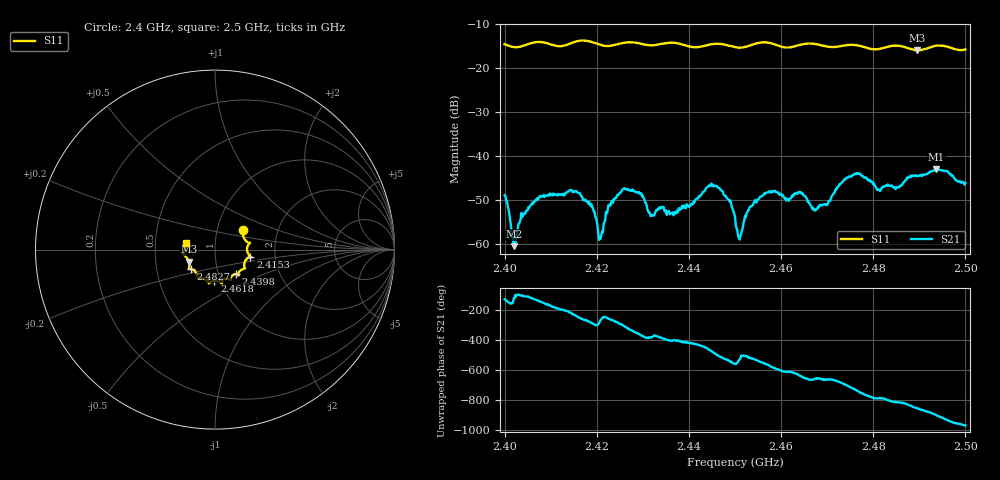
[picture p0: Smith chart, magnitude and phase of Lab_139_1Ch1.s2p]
# Hz S RI R
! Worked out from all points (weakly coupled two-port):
!   601 points, 2.4 GHz to 2.5 GHz, reference 50 ohm
!   highest |S21| = -43.03 dB at 2.4937 GHz (marker M1); lowest = -60.5 dB at 2.402 GHz (marker M2)
!   lowest |S11| = -15.9 dB at 2.4895 GHz (marker M3), VSWR 1.38, Z = 37 - j5.04 ohm
!   |S11| at or under -10 dB: start of sweep to end of sweep
!   S12 and S22 are empty: the file has one direction only
!   S11 on the Smith chart (normalised r, x): 2.4 GHz: 1.33, +0.29; 2.4153 GHz: 1.48, -0.12; 2.4398 GHz: 1.21, -0.34; 2.4618 GHz: 0.94, -0.33; 2.4827 GHz: 0.75, -0.17; 2.5 GHz: 0.72, +0.06
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2.4e9  0.1552 0.1067  -0.00237 -0.00268  0 0  0 0
2.402e9  0.1577 0.074  -0.00052 -0.000783  0 0  0 0
2.407167e9  0.1959 0.0377  -0.0024 -0.00209  0 0  0 0
2.415333e9  0.1968 -0.0391  -0.00214 0.00332  0 0  0 0
2.416667e9  0.2026 -0.0432  -0.000658 0.00341  0 0  0 0
2.420833e9  0.1769 -0.0518  -1.62e-06 0.00115  0 0  0 0
2.422833e9  0.1639 -0.0745  -0.000316 0.00278  0 0  0 0
2.425833e9  0.1666 -0.1013  0.00258 0.00338  0 0  0 0
2.433333e9  0.1299 -0.1339  0.00234 -0.000762  0 0  0 0
2.439833e9  0.1154 -0.136  0.00135 -0.00231  0 0  0 0
2.445333e9  0.0837 -0.1698  -0.00258 -0.0037  0 0  0 0
2.45e9  0.0652 -0.1619  -0.00191 0.000689  0 0  0 0
2.451167e9  0.0524 -0.1637  -0.00117 -0.00039  0 0  0 0
2.455833e9  0.038 -0.1935  -0.00344 0.000577  0 0  0 0
2.461833e9  -0.0032 -0.1728  -0.000992 0.0031  0 0  0 0
2.466667e9  -0.0349 -0.1881  0.00147 0.00214  0 0  0 0
2.476167e9  -0.0955 -0.1572  0.00614 -0.00133  0 0  0 0
2.482667e9  -0.1349 -0.1086  0.00134 -0.00438  0 0  0 0
2.483333e9  -0.1399 -0.1083  0.000743 -0.00458  0 0  0 0
2.4895e9  -0.1457 -0.0664  -0.00402 -0.00434  0 0  0 0
2.493667e9  -0.1796 -0.0236  -0.00705 -0.000145  0 0  0 0
2.5e9  -0.1594 0.0383  -0.0019 0.00456  0 0  0 0
